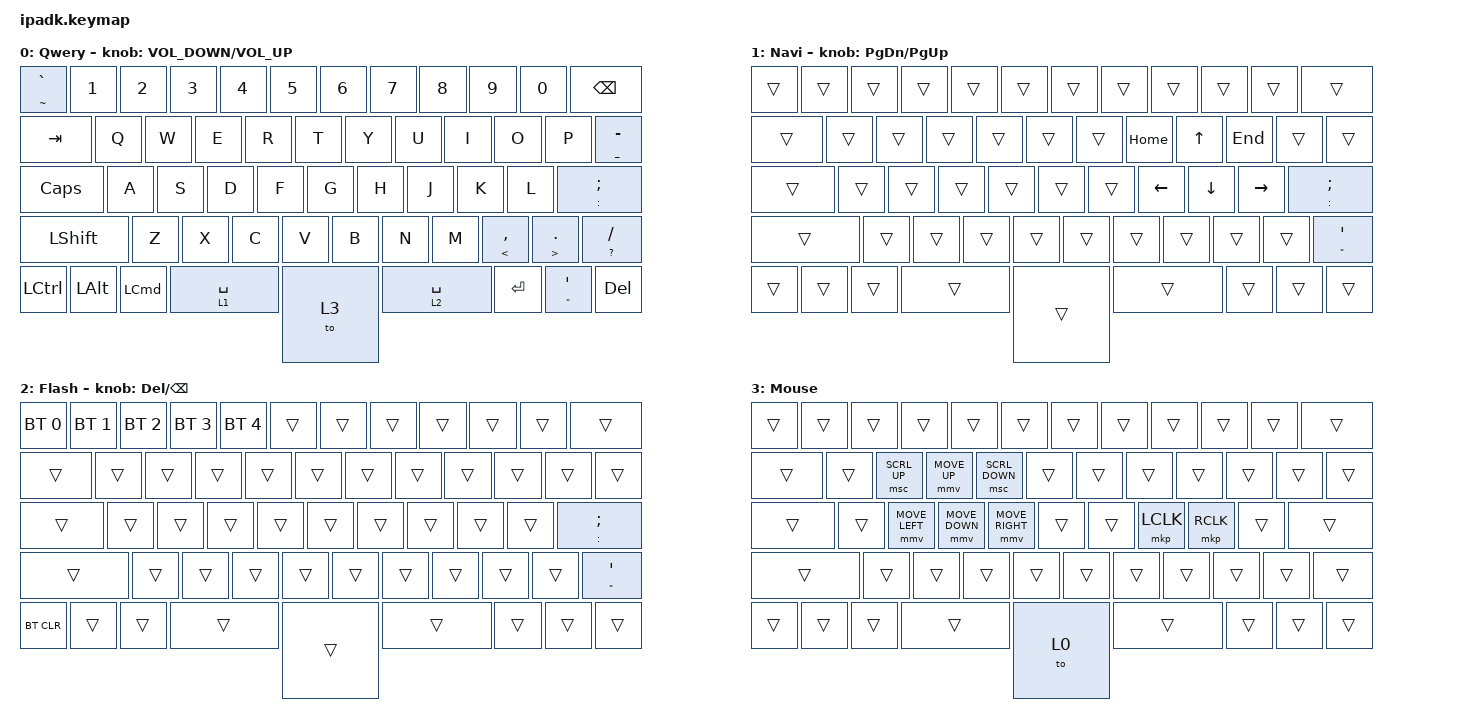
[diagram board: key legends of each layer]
/*
 * Copyright (c) 2021 The ZMK Contributors
 *
 * SPDX-License-Identifier: MIT
 */

#include <behaviors/mouse_keys.dtsi>
#include <dt-bindings/zmk/mouse.h>
#include <behaviors.dtsi>
#include <dt-bindings/zmk/bt.h>
#include <dt-bindings/zmk/keys.h>
#include <dt-bindings/zmk/pointing.h>

/ {
    combos {
        compatible = "zmk,combos";

        combo_esc {
            timeout-ms = <50>;
            key-positions = <0 1>;
            bindings = <&kp ESC>;
        };

        left_bkt {
            bindings = <&kp LEFT_BRACKET>;
            key-positions = <14 15>;
            timeout-ms = <50>;
        };

        right_bkt {
            bindings = <&kp RIGHT_BRACKET>;
            key-positions = <18 19>;
            timeout-ms = <50>;
        };

        left_par {
            bindings = <&kp LEFT_PARENTHESIS>;
            key-positions = <26 25>;
            timeout-ms = <50>;
        };

        right_par {
            bindings = <&kp RIGHT_PARENTHESIS>;
            key-positions = <29 30>;
            timeout-ms = <50>;
        };

        left_brace {
            bindings = <&kp LEFT_BRACE>;
            key-positions = <37 36>;
            timeout-ms = <50>;
        };

        right_brace {
            bindings = <&kp RIGHT_BRACE>;
            key-positions = <39 40>;
            timeout-ms = <50>;
        };

        bac {
            bindings = <&kp BACKSLASH>;
            key-positions = <15 18>;
            timeout-ms = <50>;
        };

        pipe {
            bindings = <&kp PIPE>;
            key-positions = <26 29>;
            timeout-ms = <50>;
        };

        plus {
            bindings = <&kp PLUS>;
            key-positions = <23 24>;
        };

        equal {
            bindings = <&kp EQUAL>;
            key-positions = <31 32>;
        };
    };

    behaviors {
        hm: homerow_mods {
            compatible = "zmk,behavior-hold-tap";
            label = "HOMEROW_MODS";
            bindings = <&kp>, <&kp>;

            #binding-cells = <2>;
            tapping-term-ms = <200>;
            quick-tap-ms = <180>;
            flavor = "tap-preferred";
        };

        ltq: ltq {
            compatible = "zmk,behavior-hold-tap";
            label = "LTQ";
            bindings = <&mo>, <&kp>;

            #binding-cells = <2>;
            tapping-term-ms = <200>;
            quick-tap-ms = <180>;
        };

        as: auto_shift {
            compatible = "zmk,behavior-hold-tap";
            label = "AUTO_SHIFT";
            bindings = <&kp>, <&kp>;

            #binding-cells = <2>;
            tapping-term-ms = <135>;
            quick-tap-ms = <0>;
        };
    };

    keymap {
        compatible = "zmk,keymap";

        Qwery {
            bindings = <
&as TILDE GRAVE   &kp N1        &kp N2            &kp N3        &kp N4  &kp N5        &kp N6     &kp N7                          &kp N8               &kp N9                   &kp N0
&kp TAB           &kp Q         &kp W             &kp E         &kp R   &kp T         &kp Y      &kp U                           &kp I                &kp O                    &kp P
&kp CAPS          &kp A         &kp S             &kp D         &kp F   &kp G         &kp H      &kp J                           &kp K                &kp L                    &as COLON SEMICOLON
&kp LSHFT         &kp Z         &kp X             &kp C         &kp V   &kp B         &kp N      &kp M                           &as LESS_THAN COMMA  &as GREATER_THAN PERIOD  &as QUESTION SLASH
&kp LEFT_CONTROL  &kp LEFT_ALT  &kp LEFT_COMMAND  &ltq 1 SPACE  &to 3   &ltq 2 SPACE  &kp ENTER  &as DOUBLE_QUOTES SINGLE_QUOTE  &kp DELETE           &kp BSPC                 &as UNDERSCORE MINUS
            >;

            sensor-bindings = <&inc_dec_kp C_VOLUME_DOWN C_VOLUME_UP>;
            label = "Qwery";
        };

        Navi {
            bindings = <
&trans  &trans  &trans  &trans  &trans  &trans  &trans  &trans          &trans          &trans           &trans
&trans  &trans  &trans  &trans  &trans  &trans  &trans  &kp HOME        &kp UP_ARROW    &kp END          &trans
&trans  &trans  &trans  &trans  &trans  &trans  &trans  &kp LEFT_ARROW  &kp DOWN_ARROW  &kp RIGHT_ARROW  &as COLON SEMICOLON
&trans  &trans  &trans  &trans  &trans  &trans  &trans  &trans          &trans          &trans           &as DOUBLE_QUOTES SQT
&trans  &trans  &trans  &trans  &trans  &trans  &trans  &trans          &trans          &trans           &trans
            >;

            label = "Navi";
            sensor-bindings = <&inc_dec_kp PAGE_DOWN PAGE_UP>;
        };

        Flash {
            bindings = <
&bt BT_SEL 0  &bt BT_SEL 1  &bt BT_SEL 2  &bt BT_SEL 3  &bt BT_SEL 4  &trans  &trans  &trans  &trans  &trans  &trans
&trans        &trans        &trans        &trans        &trans        &trans  &trans  &trans  &trans  &trans  &trans
&trans        &trans        &trans        &trans        &trans        &trans  &trans  &trans  &trans  &trans  &as COLON SEMICOLON
&trans        &trans        &trans        &trans        &trans        &trans  &trans  &trans  &trans  &trans  &as DOUBLE_QUOTES SINGLE_QUOTE
&bt BT_CLR    &trans        &trans        &trans        &trans        &trans  &trans  &trans  &trans  &trans  &trans
            >;

            label = "Flash";
            sensor-bindings = <&inc_dec_kp DELETE BACKSPACE>;
        };

        Mouse {
            bindings = <
&trans  &trans  &trans          &trans          &trans           &trans  &trans  &trans     &trans     &trans  &trans
&trans  &trans  &msc SCRL_UP    &mmv MOVE_UP    &msc SCRL_DOWN   &trans  &trans  &trans     &trans     &trans  &trans
&trans  &trans  &mmv MOVE_LEFT  &mmv MOVE_DOWN  &mmv MOVE_RIGHT  &trans  &trans  &mkp LCLK  &mkp RCLK  &trans  &trans
&trans  &trans  &trans          &trans          &trans           &trans  &trans  &trans     &trans     &trans  &trans
&trans  &trans  &trans          &trans          &to 0            &trans  &trans  &trans     &trans     &trans  &trans
            >;

            label = "Mouse";
        };
    };
};
